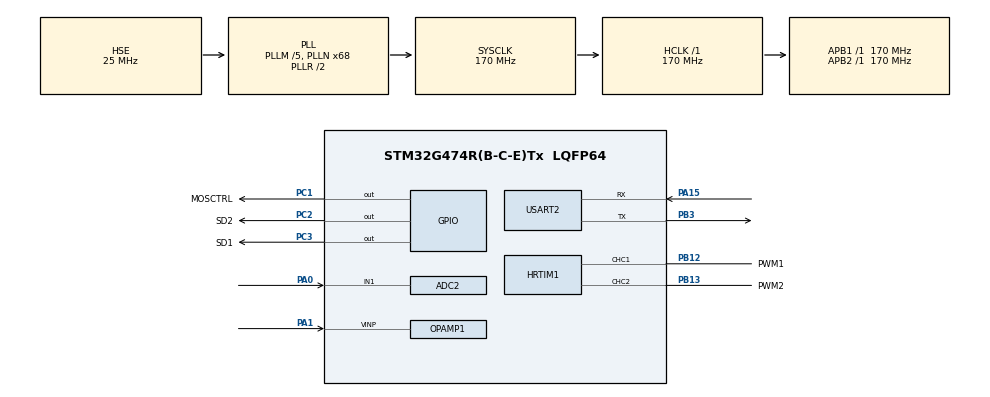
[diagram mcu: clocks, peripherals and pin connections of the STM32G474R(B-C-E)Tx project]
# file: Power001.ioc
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ADC1.Channel-13\#ChannelRegularConversion=ADC_CHANNEL_VOPAMP1
ADC1.NbrOfConversionFlag=1
ADC1.OffsetNumber-13\#ChannelRegularConversion=ADC_OFFSET_NONE
ADC1.Rank-13\#ChannelRegularConversion=1
ADC1.SamplingTime-13\#ChannelRegularConversion=ADC_SAMPLETIME_2CYCLES_5
ADC1.master=1
ADC2.Channel-0\#ChannelRegularConversion=ADC_CHANNEL_1
ADC2.ClockPrescaler=ADC_CLOCK_SYNC_PCLK_DIV4
ADC2.ContinuousConvMode=DISABLE
ADC2.NbrOfConversionFlag=1
ADC2.OffsetNumber-0\#ChannelRegularConversion=ADC_OFFSET_NONE
ADC2.Rank-0\#ChannelRegularConversion=1
ADC2.SamplingTime-0\#ChannelRegularConversion=ADC_SAMPLETIME_2CYCLES_5
Dma.Request0=USART2_TX
Dma.Request1=USART2_RX
Dma.USART2_RX.1.Direction=DMA_PERIPH_TO_MEMORY
Dma.USART2_RX.1.EventEnable=DISABLE
Dma.USART2_RX.1.Instance=DMA1_Channel3
Dma.USART2_RX.1.MemDataAlignment=DMA_MDATAALIGN_BYTE
Dma.USART2_RX.1.MemInc=DMA_MINC_ENABLE
Dma.USART2_RX.1.Mode=DMA_CIRCULAR
Dma.USART2_RX.1.PeriphDataAlignment=DMA_PDATAALIGN_BYTE
Dma.USART2_RX.1.PeriphInc=DMA_PINC_DISABLE
Dma.USART2_RX.1.Polarity=HAL_DMAMUX_REQ_GEN_RISING
Dma.USART2_RX.1.Priority=DMA_PRIORITY_MEDIUM
Dma.USART2_RX.1.RequestNumber=1
Dma.USART2_RX.1.SignalID=NONE
Dma.USART2_RX.1.SyncEnable=DISABLE
Dma.USART2_RX.1.SyncPolarity=HAL_DMAMUX_SYNC_NO_EVENT
Dma.USART2_RX.1.SyncRequestNumber=1
Dma.USART2_RX.1.SyncSignalID=NONE
Dma.USART2_TX.0.Direction=DMA_MEMORY_TO_PERIPH
Dma.USART2_TX.0.EventEnable=DISABLE
Dma.USART2_TX.0.Instance=DMA1_Channel4
Dma.USART2_TX.0.MemDataAlignment=DMA_MDATAALIGN_BYTE
Dma.USART2_TX.0.MemInc=DMA_MINC_ENABLE
Dma.USART2_TX.0.Mode=DMA_NORMAL
Dma.USART2_TX.0.PeriphDataAlignment=DMA_PDATAALIGN_BYTE
Dma.USART2_TX.0.PeriphInc=DMA_PINC_DISABLE
Dma.USART2_TX.0.Polarity=HAL_DMAMUX_REQ_GEN_RISING
Dma.USART2_TX.0.Priority=DMA_PRIORITY_LOW
Dma.USART2_TX.0.RequestNumber=1
Dma.USART2_TX.0.SignalID=NONE
Dma.USART2_TX.0.SyncEnable=DISABLE
Dma.USART2_TX.0.SyncPolarity=HAL_DMAMUX_SYNC_NO_EVENT
Dma.USART2_TX.0.SyncRequestNumber=1
Dma.USART2_TX.0.SyncSignalID=NONE
HRTIM1.CompareUnit1-Output_TC1TC2=HRTIM_COMPAREUNIT_1
HRTIM1.CompareValue1-Output_TC1TC2=13600
HRTIM1.DeadTimeInsertion-Output_TC1TC2=HRTIM_TIMDEADTIMEINSERTION_ENABLED
HRTIM1.FallingValue-Output_TC1TC2=0
HRTIM1.NumberResetSource1-Output_TC1TC2=1
HRTIM1.NumberSetSource1-Output_TC1TC2=1
HRTIM1.Periode_TC=27200
HRTIM1.PreloadEnable-Output_TC1TC2=HRTIM_PRELOAD_ENABLED
HRTIM1.RepetitionUpdate-Output_TC1TC2=HRTIM_UPDATEONREPETITION_ENABLED
HRTIM1.ResetOutput1_Source1-Output_TC1TC2=HRTIM_OUTPUTRESET_TIMCMP1
HRTIM1.RisingValue-Output_TC1TC2=0
HRTIM1.SetOutput1_Source1-Output_TC1TC2=HRTIM_OUTPUTSET_TIMPER
Mcu.Family=STM32G4
Mcu.Name=STM32G474R(B-C-E)Tx
Mcu.Package=LQFP64
NVIC.DMA1_Channel3_IRQn=true\:2\:0\:true\:false\:true\:false\:true\:true
NVIC.DMA1_Channel4_IRQn=true\:1\:0\:true\:false\:true\:true\:true\:true
NVIC.PriorityGroup=NVIC_PRIORITYGROUP_4
NVIC.TIM6_DAC_IRQn=true\:1\:0\:true\:false\:true\:true\:true\:true
NVIC.USART2_IRQn=true\:2\:0\:true\:false\:true\:true\:true\:true
OPAMP1.SelfCalibration=Disable
PA0.Mode=IN1-Single-Ended
PA0.Signal=ADC2_IN1
PA1.Mode=Follower_Internally_Connected
PA1.Signal=OPAMP1_VINP
PA10.Signal=USART1_RX
PA13.Mode=Serial_Wire
PA13.Signal=SYS_JTMS-SWDIO
PA14.Mode=Serial_Wire
PA14.Signal=SYS_JTCK-SWCLK
PA15.Mode=Asynchronous
PA15.Signal=USART2_RX
PA9.Signal=USART1_TX
PB12.GPIO_Label=PWM1
PB12.Mode=Output_TC1TC2
PB12.Signal=HRTIM1_CHC1
PB13.GPIO_Label=PWM2
PB13.Mode=Output_TC1TC2
PB13.Signal=HRTIM1_CHC2
PB3.Mode=Asynchronous
PB3.Signal=USART2_TX
PC1.GPIO_Label=MOSCTRL
PC1.Signal=GPIO_Output
PC2.GPIO_Label=SD2
PC2.Signal=GPIO_Output
PC3.GPIO_Label=SD1
PC3.Signal=GPIO_Output
PF0-OSC_IN.Mode=HSE-External-Oscillator
PF0-OSC_IN.Signal=RCC_OSC_IN
PF1-OSC_OUT.Mode=HSE-External-Oscillator
PF1-OSC_OUT.Signal=RCC_OSC_OUT
ProjectManager.HeapSize=0x200
ProjectManager.StackSize=0x400
ProjectManager.TargetToolchain=MDK-ARM V5.32
RCC.ADC12Freq_Value=170000000
RCC.ADC345Freq_Value=170000000
RCC.AHBFreq_Value=170000000
RCC.APB1Freq_Value=170000000
RCC.APB1TimFreq_Value=170000000
RCC.APB2Freq_Value=170000000
RCC.APB2TimFreq_Value=170000000
RCC.CortexFreq_Value=170000000
RCC.EXTERNAL_CLOCK_VALUE=12288000
RCC.HCLKFreq_Value=170000000
RCC.HSE_VALUE=25000000
RCC.HSI48_VALUE=48000000
RCC.HSI_VALUE=16000000
RCC.LSE_VALUE=32768
RCC.PLLM=RCC_PLLM_DIV5
RCC.PLLN=68
RCC.PLLSourceVirtual=RCC_PLLSOURCE_HSE
RCC.SYSCLKFreq_VALUE=170000000
RCC.SYSCLKSource=RCC_SYSCLKSOURCE_PLLCLK
RCC.USBFreq_Value=170000000
RCC.VCOOutputFreq_Value=340000000
TIM6.PeriodNoDither=1000-1
TIM6.Prescaler=170-1
USART2.VirtualMode-Asynchronous=VM_ASYNC
VP_ADC1_OPAMP_INTERNAL1.Mode=IN-OPAMP1
VP_SYS_VS_DBSignals.Mode=DisableDeadBatterySignals
VP_TIM6_VS_ClockSourceINT.Mode=Enable_Timer
board=custom

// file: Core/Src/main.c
/* USER CODE BEGIN Header */
/**
  ******************************************************************************
  * @file           : main.c
  * @brief          : Main program body
  ******************************************************************************
  * @attention
  *
  * Copyright (c) 2024 STMicroelectronics.
  * All rights reserved.
  *
  * This software is licensed under terms that can be found in the LICENSE file
  * in the root directory of this software component.
  * If no LICENSE file comes with this software, it is provided AS-IS.
  *
  ******************************************************************************
  */
/* USER CODE END Header */
#include "main.h"
#include "adc.h"
#include "dma.h"
#include "hrtim.h"
#include "opamp.h"
#include "tim.h"
#include "usart.h"
#include "gpio.h"

/* USER CODE BEGIN Includes */
#include "power001_model.h"

/* USER CODE END Includes */

/* USER CODE BEGIN PV */
const uint8_t send_lth=13,rcv_lth=32;
//unsigned char send_buf[send_lth]={0};
uint8_t rcv_buf[1+2+2]={0},
				send_buf[(9+4+3)*2+10] = {
					'v','o','u','t','.','v','a','l','=','0','0','0','0','\xff','\xff','\xff',
					'i','o','u','t','.','v','a','l','=','0','0','0','0','\xff','\xff','\xff',
					'c','.','v','a','l','=','1','\xff','\xff','\xff'};

uint16_t t7num=0;
uint16_t vout_val=0, vset_val=0, iout_val=0, iset_val=0;
float vget=0, iget=0, vtemp=0, vtemp2=0, itemp=0, itemp2=0;
float pwmtemp = 9000;

int output = 0, output_temp = 0, fix=0;

/* USER CODE END PV */

void SystemClock_Config(void);

int main(void)
{

  /* MCU Configuration--------------------------------------------------------*/

  /* Reset of all peripherals, Initializes the Flash interface and the Systick. */
  HAL_Init();

  /* Configure the system clock */
  SystemClock_Config();

  /* Initialize all configured peripherals */
  MX_GPIO_Init();
  MX_DMA_Init();
  MX_USART2_UART_Init();
  MX_ADC1_Init();
  MX_ADC2_Init();
  MX_HRTIM1_Init();
  MX_TIM6_Init();
  MX_OPAMP1_Init();
  /* USER CODE BEGIN 2 */
	output_off();

	rtP.kp_v = 0.6;
	rtP.ki_v = 1.5;
	rtP.kd_v = 0;

	rtP.kp_i = 1.0;
	rtP.ki_i = 4.0;
	rtP.kd_i = 0;

	rtP.period_max = 27200;
	rtP.v_in = 5000;
	rtU.state = 0;
	rtY.v_period_out = 0;

	power001_model_initialize();

	HAL_HRTIM_WaveformOutputStart(&hhrtim1, HRTIM_OUTPUT_TC1|HRTIM_OUTPUT_TC2);
	HAL_HRTIM_WaveformCounterStart(&hhrtim1, HRTIM_TIMERID_TIMER_C);
	//hhrtim1.Instance->sTimerxRegs[2].CMP1xR = 15000;//改变占空比 0~27200

	HAL_OPAMP_Start(&hopamp1);
	HAL_ADCEx_Calibration_Start(&hadc1, ADC_SINGLE_ENDED);

	__HAL_UART_DISABLE_IT(&huart2, UART_IT_TC);

	HAL_UART_Receive_DMA(&huart2, rcv_buf, 5);

	HAL_TIM_Base_Start_IT(&htim6);

	for(int i=0;i<10;i++){
		HAL_UART_Receive_DMA(&huart2, rcv_buf, 5);
		HAL_Delay(100);
	}

  /* USER CODE END 2 */

  /* Infinite loop */
  while (1)
  {

    /* USER CODE BEGIN 3 */
		/*
    vout = vin * D/(1-D)
		D = vout/(vout+vin)
    V 0~12 -> 0~75% PWM
    I 0~2 -> PWM++或--
		*/

  }
  /* USER CODE END 3 */
}

void SystemClock_Config(void)
{
  RCC_OscInitTypeDef RCC_OscInitStruct = {0};
  RCC_ClkInitTypeDef RCC_ClkInitStruct = {0};

  /** Configure the main internal regulator output voltage
  */
  HAL_PWREx_ControlVoltageScaling(PWR_REGULATOR_VOLTAGE_SCALE1_BOOST);

  /** Initializes the RCC Oscillators according to the specified parameters
  * in the RCC_OscInitTypeDef structure.
  */
  RCC_OscInitStruct.OscillatorType = RCC_OSCILLATORTYPE_HSE;
  RCC_OscInitStruct.HSEState = RCC_HSE_ON;
  RCC_OscInitStruct.PLL.PLLState = RCC_PLL_ON;
  RCC_OscInitStruct.PLL.PLLSource = RCC_PLLSOURCE_HSE;
  RCC_OscInitStruct.PLL.PLLM = RCC_PLLM_DIV5;
  RCC_OscInitStruct.PLL.PLLN = 68;
  RCC_OscInitStruct.PLL.PLLP = RCC_PLLP_DIV2;
  RCC_OscInitStruct.PLL.PLLQ = RCC_PLLQ_DIV2;
  RCC_OscInitStruct.PLL.PLLR = RCC_PLLR_DIV2;
  if (HAL_RCC_OscConfig(&RCC_OscInitStruct) != HAL_OK)
  {
    Error_Handler();
  }

  /** Initializes the CPU, AHB and APB buses clocks
  */
  RCC_ClkInitStruct.ClockType = RCC_CLOCKTYPE_HCLK|RCC_CLOCKTYPE_SYSCLK
                              |RCC_CLOCKTYPE_PCLK1|RCC_CLOCKTYPE_PCLK2;
  RCC_ClkInitStruct.SYSCLKSource = RCC_SYSCLKSOURCE_PLLCLK;
  RCC_ClkInitStruct.AHBCLKDivider = RCC_SYSCLK_DIV1;
  RCC_ClkInitStruct.APB1CLKDivider = RCC_HCLK_DIV1;
  RCC_ClkInitStruct.APB2CLKDivider = RCC_HCLK_DIV1;

  if (HAL_RCC_ClockConfig(&RCC_ClkInitStruct, FLASH_LATENCY_4) != HAL_OK)
  {
    Error_Handler();
  }
}

/* USER CODE BEGIN 4 */
void HAL_TIM_PeriodElapsedCallback(TIM_HandleTypeDef *htim){
	if(htim == &htim6){

		sampling();

		vout_val = vget*2500*6/4096/10;
		iout_val = iget*2500/4096/10;

		if(1!=output||0==vset_val){
			output_off();
		}

		rtU.v_tgt = 10*vset_val;
		rtU.i_tgt = 10*iset_val;
		rtU.v_val = vget*2500*6/4096;
		rtU.i_val = iget*2500/4096;

//		rtU.state = 0;

//		if(1==output){
//			hhrtim1.Instance->sTimerxRegs[2].CMP1xR = pwmtemp;
//			output_on();
//		}

		if(1==output){
			if(rtU.i_val <= rtU.i_tgt&&fix==0){
				rtU.state = 1;//CV
			}
			else{
				rtU.state = 2;//CC
				fix = 1;
			}

			power001_model_step();
			if(rtY.v_period_out<272){
				rtY.v_period_out = 272;
			}
			if(1==rtU.state){
				hhrtim1.Instance->sTimerxRegs[2].CMP1xR = rtY.v_period_out;
			}
			else if(2==rtU.state){
				hhrtim1.Instance->sTimerxRegs[2].CMP1xR = rtY.i_period_out;
			}
			output_on();
		}
	}
}

//屏幕显示部分
void HAL_UART_RxCpltCallback(UART_HandleTypeDef *huart){
	if(huart->Instance == USART2){
		set_update();
		out_update();
	}
}

void out_update(void){
	send_buf[12] = 48+vout_val%10;
	send_buf[11] = 48+vout_val/10%10;
	send_buf[10] = 48+vout_val/100%10;
	send_buf[9] = 48+vout_val/1000%10;

	send_buf[28] = 48+iout_val%10;
	send_buf[27] = 48+iout_val/10%10;
	send_buf[26] = 48+iout_val/100%10;
	send_buf[25] = 48+iout_val/1000%10;

	if(2==rtU.state){
		send_buf[38] = '2';
	}
	else{
		send_buf[38] = '1';
	}
	HAL_UART_Transmit_DMA(&huart2, send_buf, 42);
}

void set_update(void){
	if(1==rcv_buf[0]){
		if(0==rcv_buf[3]&&0==rcv_buf[4]){
			if(1==rcv_buf[1]){
				output = 1;
			}
			else if(0==rcv_buf[1]){
				output = 0;
			}
		}
		for(int i=0;i<5;i++){
				rcv_buf[i]=0;
		}
	}
	else if(2==rcv_buf[0]){
		if(0==rcv_buf[3]&&0==rcv_buf[4]){
			vset_val = rcv_buf[2]*256 + rcv_buf[1];
		}
		for(int i=0;i<5;i++){
				rcv_buf[i]=0;
		}
	}
	else if(3==rcv_buf[0]){
		if(0==rcv_buf[3]&&0==rcv_buf[4]){
			iset_val = rcv_buf[2]*256 + rcv_buf[1];
		}
		for(int i=0;i<5;i++){
				rcv_buf[i]=0;
		}
	}
	else if(4==rcv_buf[0]){
		if(0==rcv_buf[3]&&0==rcv_buf[4]){
			rtP.v_in = (rcv_buf[2]*256 + rcv_buf[1])*10;
			output_temp = 0;
		}
		for(int i=0;i<5;i++){
				rcv_buf[i]=0;
		}
	}
	else if(5==rcv_buf[0]){
		if(0==rcv_buf[3]&&0==rcv_buf[4]){
			if(1==rcv_buf[1]){
				rtU.state = 1;
				fix=0;
			}
			else if(2==rcv_buf[1]){
				rtU.state = 2;
				fix=1;
			}
		}
		for(int i=0;i<5;i++){
				rcv_buf[i]=0;
		}
	}
}

//EG2104控制部分
void output_off(void){
	HAL_GPIO_WritePin(SD1_GPIO_Port,SD1_Pin,GPIO_PIN_RESET);
  HAL_GPIO_WritePin(SD2_GPIO_Port,SD2_Pin,GPIO_PIN_RESET);//关闭EG2104输出
	HAL_GPIO_WritePin(MOSCTRL_GPIO_Port,MOSCTRL_Pin,GPIO_PIN_SET);
	fix=0;
}

void output_on(void){
	HAL_GPIO_WritePin(MOSCTRL_GPIO_Port,MOSCTRL_Pin,GPIO_PIN_RESET);
	HAL_GPIO_WritePin(SD1_GPIO_Port,SD1_Pin,GPIO_PIN_SET);
  HAL_GPIO_WritePin(SD2_GPIO_Port,SD2_Pin,GPIO_PIN_SET);//打开EG2104输出
}

//采样部分
void sampling(void){
	HAL_ADC_Start(&hadc1);//启动ADC1转换
	HAL_ADC_PollForConversion(&hadc1, 10);//等待转换完成，等待时间10ms

	if(HAL_IS_BIT_SET(HAL_ADC_GetState(&hadc1), HAL_ADC_STATE_REG_EOC)){
		vget = HAL_ADC_GetValue(&hadc1);
		//vtemp = vget*2500/4096;
		//vtemp2 = vget*2500*6/4096;
	}

	HAL_ADC_Start(&hadc2);//启动ADC2转换
	HAL_ADC_PollForConversion(&hadc2, 10);//等待转换完成，等待时间10ms

	if(HAL_IS_BIT_SET(HAL_ADC_GetState(&hadc2), HAL_ADC_STATE_REG_EOC)){
		iget = HAL_ADC_GetValue(&hadc2);
		//itemp = iget*2500/4096;
	}
}
/* USER CODE END 4 */

void Error_Handler(void)
{
  __disable_irq();
  while (1)
  {
  }
}
